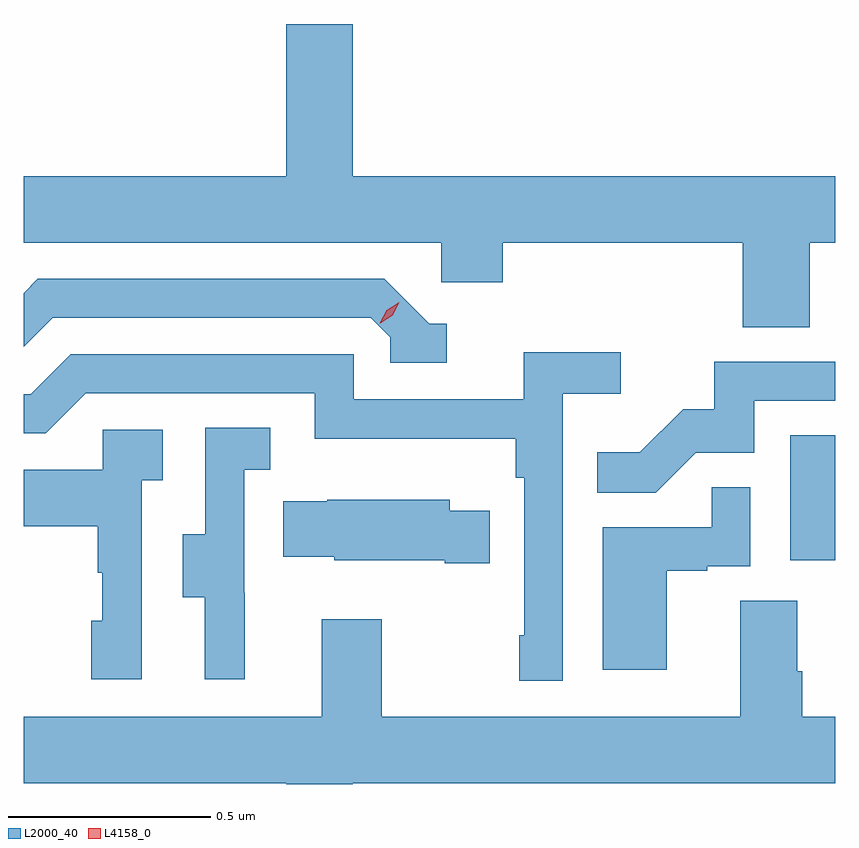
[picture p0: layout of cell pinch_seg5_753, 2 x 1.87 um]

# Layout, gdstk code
import gdstk
lib = gdstk.Library(unit=1e-6, precision=1e-09)
def R(c, l, rs):  # rectangles x0, y0, x1, y1
    for r in rs: c.add(gdstk.rectangle(r[:2], r[2:], *l))
def P(c, l, *ps):  # polygons
    for p in ps: c.add(gdstk.Polygon(p, *l))
L2000_40 = (2000, 40)
L4158_0 = (4158, 0)

pinch_seg5_753 = lib.new_cell('pinch_seg5_753')
R(pinch_seg5_753, L2000_40, [(861.554,910.59,861.665,910.897)])
P(pinch_seg5_753, L2000_40, [(861.602,911.372),(861.665,911.372),(861.665,911.536),(860.476,911.536),(860.476,911.911),(860.312,911.911),(860.312,911.536),(859.665,911.536),(859.665,911.372),(860.694,911.372),(860.694,911.274),(860.846,911.274),(860.846,911.372),(861.437,911.372),(861.437,911.164),(861.602,911.164)],
  [(860.707,911.172),(860.664,911.172),(860.553,911.283),(859.7,911.283),(859.665,911.248),(859.665,911.115),(859.737,911.187),(860.52,911.187),(860.568,911.139),(860.568,911.076),(860.707,911.076)],
  [(860.994,911),(861.136,911),(861.136,911.102),(860.897,911.102),(860.897,910.986),(860.478,910.986),(860.478,911.097),(859.781,911.097),(859.682,910.998),(859.665,910.998),(859.665,910.902),(859.719,910.902),(859.818,911.001),(860.382,911.001),(860.382,910.889),(860.878,910.889),(860.878,910.793),(860.898,910.793),(860.898,910.405),(860.886,910.405),(860.886,910.293),(860.994,910.293)],
  [(861.321,910.854),(861.465,910.854),(861.465,910.983),(861.665,910.983),(861.665,911.079),(861.367,911.079),(861.367,910.962),(861.29,910.962),(861.183,910.855),(861.079,910.855),(861.079,910.756),(861.223,910.756)],
  [(860.21,910.509),(860.208,910.509),(860.208,910.813),(860.272,910.813),(860.272,910.916),(860.112,910.916),(860.112,910.653),(860.057,910.653),(860.057,910.498),(860.111,910.498),(860.111,910.296),(860.21,910.296)],
  [(859.956,910.787),(860.008,910.787),(860.008,910.911),(859.86,910.911),(859.86,910.813),(859.665,910.813),(859.665,910.673),(859.848,910.673),(859.848,910.559),(859.858,910.559),(859.858,910.44),(859.832,910.44),(859.832,910.296),(859.956,910.296)],
  [(861.25,910.563),(861.35,910.563),(861.35,910.575),(861.456,910.575),(861.456,910.769),(861.361,910.769),(861.361,910.671),(861.092,910.671),(861.092,910.32),(861.25,910.32)],
  [(860.813,910.711),(860.715,910.711),(860.715,910.738),(860.413,910.738),(860.413,910.735),(860.305,910.735),(860.305,910.598),(860.43,910.598),(860.43,910.589),(860.702,910.589),(860.702,910.582),(860.813,910.582)],
  [(860.476,910.04),(861.665,910.04),(861.665,910.204),(861.584,910.204),(861.584,910.316),(861.571,910.316),(861.571,910.49),(861.431,910.49),(861.431,910.204),(860.547,910.204),(860.547,910.444),(860.399,910.444),(860.399,910.204),(859.665,910.204),(859.665,910.04),(860.312,910.04),(860.312,910.038),(860.476,910.038)])
P(pinch_seg5_753, L4158_0, [(860.543,911.173),(860.543,911.174),(860.56,911.206),(860.59,911.225),(860.591,911.225),(860.591,911.225),(860.574,911.193),(860.544,911.173)])

lib.write_gds('pinch_seg5_753.gds')
